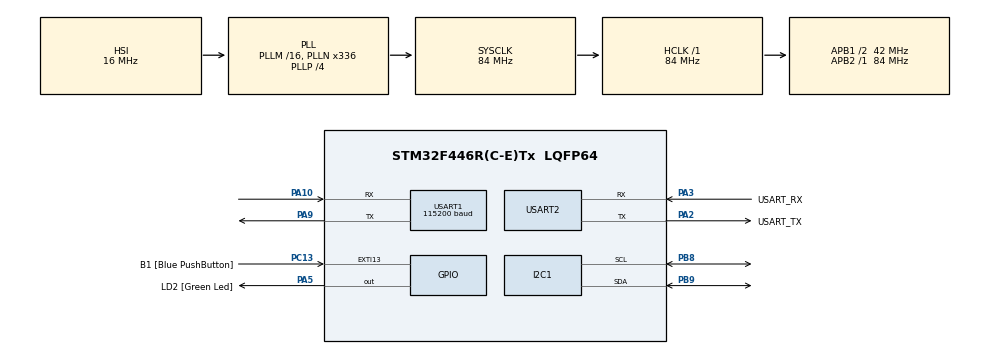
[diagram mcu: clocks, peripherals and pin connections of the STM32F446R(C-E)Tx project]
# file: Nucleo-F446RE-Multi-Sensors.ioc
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Dma.Request0=USART1_RX
Dma.Request1=USART2_RX
Dma.USART1_RX.0.Direction=DMA_PERIPH_TO_MEMORY
Dma.USART1_RX.0.FIFOMode=DMA_FIFOMODE_DISABLE
Dma.USART1_RX.0.Instance=DMA2_Stream2
Dma.USART1_RX.0.MemDataAlignment=DMA_MDATAALIGN_BYTE
Dma.USART1_RX.0.MemInc=DMA_MINC_ENABLE
Dma.USART1_RX.0.Mode=DMA_NORMAL
Dma.USART1_RX.0.PeriphDataAlignment=DMA_PDATAALIGN_BYTE
Dma.USART1_RX.0.PeriphInc=DMA_PINC_DISABLE
Dma.USART1_RX.0.Priority=DMA_PRIORITY_LOW
Dma.USART2_RX.1.Direction=DMA_PERIPH_TO_MEMORY
Dma.USART2_RX.1.FIFOMode=DMA_FIFOMODE_DISABLE
Dma.USART2_RX.1.Instance=DMA1_Stream5
Dma.USART2_RX.1.MemDataAlignment=DMA_MDATAALIGN_BYTE
Dma.USART2_RX.1.MemInc=DMA_MINC_ENABLE
Dma.USART2_RX.1.Mode=DMA_NORMAL
Dma.USART2_RX.1.PeriphDataAlignment=DMA_PDATAALIGN_BYTE
Dma.USART2_RX.1.PeriphInc=DMA_PINC_DISABLE
Dma.USART2_RX.1.Priority=DMA_PRIORITY_LOW
Mcu.Family=STM32F4
Mcu.Name=STM32F446R(C-E)Tx
Mcu.Package=LQFP64
NVIC.DMA1_Stream5_IRQn=true\:0\:0\:false\:false\:true\:false\:true\:true
NVIC.DMA2_Stream2_IRQn=true\:0\:0\:false\:false\:true\:false\:true\:true
NVIC.PriorityGroup=NVIC_PRIORITYGROUP_0
NVIC.USART1_IRQn=true\:0\:0\:false\:false\:true\:true\:true\:true
NVIC.USART2_IRQn=true\:0\:0\:false\:false\:true\:true\:true\:true
PA10.GPIO_PuPd=GPIO_PULLUP
PA10.Mode=Asynchronous
PA10.Signal=USART1_RX
PA13.GPIO_Label=TMS
PA13.Mode=Serial_Wire
PA13.Signal=SYS_JTMS-SWDIO
PA14.GPIO_Label=TCK
PA14.Mode=Serial_Wire
PA14.Signal=SYS_JTCK-SWCLK
PA2.GPIO_Label=USART_TX
PA2.GPIO_PuPd=GPIO_PULLUP
PA2.Mode=Asynchronous
PA2.Signal=USART2_TX
PA3.GPIO_Label=USART_RX
PA3.GPIO_PuPd=GPIO_PULLUP
PA3.Mode=Asynchronous
PA3.Signal=USART2_RX
PA5.GPIO_Label=LD2 [Green Led]
PA5.Signal=GPIO_Output
PA9.GPIO_PuPd=GPIO_PULLUP
PA9.Mode=Asynchronous
PA9.Signal=USART1_TX
PB3.GPIO_Label=SWO
PB3.Signal=SYS_JTDO-SWO
PB8.Mode=I2C
PB8.Signal=I2C1_SCL
PB9.Mode=I2C
PB9.Signal=I2C1_SDA
PC13.GPIO_Label=B1 [Blue PushButton]
PC13.GPIO_ModeDefaultEXTI=GPIO_MODE_IT_FALLING
PC13.Signal=GPXTI13
PC14-OSC32_IN.Signal=RCC_OSC32_IN
PC15-OSC32_OUT.Signal=RCC_OSC32_OUT
PH0-OSC_IN.Signal=RCC_OSC_IN
PH1-OSC_OUT.Signal=RCC_OSC_OUT
ProjectManager.HeapSize=0x200
ProjectManager.StackSize=0x400
ProjectManager.TargetToolchain=STM32CubeIDE
RCC.48MHZClocksFreq_Value=84000000
RCC.AHBFreq_Value=84000000
RCC.APB1CLKDivider=RCC_HCLK_DIV2
RCC.APB1Freq_Value=42000000
RCC.APB1TimFreq_Value=84000000
RCC.APB2Freq_Value=84000000
RCC.APB2TimFreq_Value=84000000
RCC.CortexFreq_Value=84000000
RCC.FLatency-AdvancedSettings=FLASH_LATENCY_2
RCC.HCLKFreq_Value=84000000
RCC.HSE_VALUE=8000000
RCC.HSI_VALUE=16000000
RCC.PLLN=336
RCC.PLLP=RCC_PLLP_DIV4
RCC.SYSCLKFreq_VALUE=84000000
RCC.SYSCLKSource=RCC_SYSCLKSOURCE_PLLCLK
RCC.USBFreq_Value=168000000
RCC.VCOOutputFreq_Value=336000000
USART1.BaudRate=115200
USART1.VirtualMode=VM_ASYNC
USART2.VirtualMode=VM_ASYNC
board=NUCLEO-F446RE

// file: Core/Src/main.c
/* USER CODE BEGIN Header */
/**
  ******************************************************************************
  * @file           : main.c
  * @brief          : Main program body
  ******************************************************************************
  * @attention
  *
  * Copyright (c) 2025 STMicroelectronics.
  * All rights reserved.
  *
  * This software is licensed under terms that can be found in the LICENSE file
  * in the root directory of this software component.
  * If no LICENSE file comes with this software, it is provided AS-IS.
  *
  *
  *
  * Comparing 3 CO2 Sensors interfacing to I2C
  * Sesirion 	@ 0x62
  * CCS811 		@ 0x5A
  * ENS160		@ 0x52
  * AHT21		@ 0x38
  *
  *
  *
  *
  *
  ******************************************************************************
  */
/* USER CODE END Header */
#include "main.h"
#include "dma.h"
#include "i2c.h"
#include "usart.h"
#include "gpio.h"

/* USER CODE BEGIN Includes */
#include "noRTOS.h"
#include "platformGlue.h"

/* USER CODE END Includes */

/* USER CODE BEGIN PV */
#define ENS160_I2C_ADDRESS	0x52
#define ENS160_OPMODE 		0x10	// Operating mode:0x00: DEEP SLEEP mode (low power standby); 0x01: IDLE mode (low-power); 0x02: STANDARD Gas Sensing Modes

#define ENS160_TEMP_IN 		0x13	// 2 Bytes Length
#define ENS160_RH_IN 		0x15	// 2 Bytes Length
#define ENS160_DATA_STATUS	0x20
#define ENS160_DATA_ECO2	0x24 	// 2 Bytes Length
#define ENS160_DATA_T 		0x30	// 2 Bytes Length
#define ENS160_DATA_RH 		0x32	// 2 Bytes Length

void ens160_i2c_read_register(uint8_t register_address, uint8_t* data, uint16_t length){
	HAL_I2C_Mem_Read(&I2C_HANDLER, ENS160_I2C_ADDRESS<<1, register_address, 1, data, length, 0xFFFF);
}

void ens160_i2c_write_register(uint8_t register_address, uint8_t* data, uint16_t length){
	HAL_I2C_Mem_Write(&I2C_HANDLER, ENS160_I2C_ADDRESS<<1, register_address, 1, data, length, 0xFFFF);
}

void ens160_translate_status_byte(uint8_t status_byte){

	uint8_t NEWGPR;
	uint8_t NEWDAT;
	uint8_t VALIDITY_FLAG;
	uint8_t STATER;
	uint8_t STATAS;
	NEWGPR 			= (status_byte & 0x01);		 // High indicates that a new data is available in the GPR_READx registers. Cleared automatically at first GPR_READx read.
	NEWDAT 			= (status_byte & 0x02) >> 1; // High indicates that a new data is available in the DATA_x registers. Cleared automatically at first DATA_x read.
	VALIDITY_FLAG 	= (status_byte & 0x0C) >> 2; // 0: Normal operation; 1: Warm-Up phase; 2: Initial Start-Up phase; 3: Invalid output
	STATER 			= (status_byte & 0x40) >> 6; // High indicates that an error is detected. E.g. Invali Operating Mode has been selected.
	STATAS 			= (status_byte & 0x80) >> 7; // High indicates that an OPMODE is running
	printf("ENS160 Status: ");
	if(NEWGPR) printf("GPR data available, ");
	if(NEWDAT) printf("Sensor data available, ");
	if(VALIDITY_FLAG) printf("Operation: %d, ", VALIDITY_FLAG);
	if(STATER) printf("Error is present, ");
	if(STATAS) printf("OPMODE is running");
	printf("\n");
}

/* USER CODE END PV */

void SystemClock_Config(void);

/* USER CODE BEGIN 0 */

void blinky(void){
	NUCLEO_LED_toggle();
}

void sample_ens160(void){
	uint16_t eCO2 = 0;
	uint16_t temperature = 0;
	uint16_t rleative_humidity = 0;
	uint8_t status = 0;
	ens160_i2c_read_register(ENS160_DATA_STATUS, &status, 1);
	ens160_i2c_read_register(ENS160_DATA_ECO2, (uint8_t*) &eCO2, 2);
	ens160_i2c_read_register(ENS160_DATA_T, (uint8_t*) &temperature, 2);
	ens160_i2c_read_register(ENS160_DATA_RH, (uint8_t*) &rleative_humidity, 2);

	ens160_translate_status_byte(status);
	printf("ENS160 CO2: %d\n", eCO2);
	printf("ENS160 Temperature: %d\n", temperature);
	printf("ENS160 Humidity: %d\n", rleative_humidity);
}

void noRTOS_setup(void) {
	NUCLEO_LED_turn_on();
	scan_i2c_sensors();

	// set ENS160 to OPERATIONAL MODE 0x01
	uint8_t mode = 0x01;
	ens160_i2c_write_register(ENS160_OPMODE, &mode, 1);

	uint16_t temp_in = 0x488A; // (17+273.15)*64 = 18569.6 = 0x488A; For 25°C the input value is calculated as follows: (25 + 273.15) * 64 = 0x4A8A.
	uint8_t temp_in_lsb = 0x8A;
	uint8_t temp_in_msb = 0x48;
	ens160_i2c_write_register(ENS160_TEMP_IN, &temp_in_lsb, 1);
	ens160_i2c_write_register(ENS160_TEMP_IN, &temp_in_msb, 1);

	// set ENS160 to OPERATIONAL MODE 0x02
	mode = 0x02;
	ens160_i2c_write_register(ENS160_OPMODE, &mode, 1);
	NUCLEO_LED_turn_off();
}

/* USER CODE END 0 */

int main(void)
{

  /* MCU Configuration--------------------------------------------------------*/

  /* Reset of all peripherals, Initializes the Flash interface and the Systick. */
  HAL_Init();

  /* Configure the system clock */
  SystemClock_Config();

  /* Initialize all configured peripherals */
  MX_GPIO_Init();
  MX_DMA_Init();
  MX_USART2_UART_Init();
  MX_USART1_UART_Init();
  MX_I2C1_Init();

  /* USER CODE BEGIN 2 */
  noRTOS_task_t blinky_t = {.delay = eNORTOS_PERIODE_1s, .task_callback = blinky};
  noRTOS_add_task_to_scheduler(&blinky_t);

  noRTOS_task_t ens160_t = {.delay = eNORTOS_PERIODE_1s, .task_callback = sample_ens160};
  noRTOS_add_task_to_scheduler(&ens160_t);

  noRTOS_run_scheduler();
  /* USER CODE END 2 */

  /* Infinite loop */
  while (1)
  {

  }
}

void SystemClock_Config(void)
{
  RCC_OscInitTypeDef RCC_OscInitStruct = {0};
  RCC_ClkInitTypeDef RCC_ClkInitStruct = {0};

  /** Configure the main internal regulator output voltage
  */
  __HAL_RCC_PWR_CLK_ENABLE();
  __HAL_PWR_VOLTAGESCALING_CONFIG(PWR_REGULATOR_VOLTAGE_SCALE3);

  /** Initializes the RCC Oscillators according to the specified parameters
  * in the RCC_OscInitTypeDef structure.
  */
  RCC_OscInitStruct.OscillatorType = RCC_OSCILLATORTYPE_HSI;
  RCC_OscInitStruct.HSIState = RCC_HSI_ON;
  RCC_OscInitStruct.HSICalibrationValue = RCC_HSICALIBRATION_DEFAULT;
  RCC_OscInitStruct.PLL.PLLState = RCC_PLL_ON;
  RCC_OscInitStruct.PLL.PLLSource = RCC_PLLSOURCE_HSI;
  RCC_OscInitStruct.PLL.PLLM = 16;
  RCC_OscInitStruct.PLL.PLLN = 336;
  RCC_OscInitStruct.PLL.PLLP = RCC_PLLP_DIV4;
  RCC_OscInitStruct.PLL.PLLQ = 2;
  RCC_OscInitStruct.PLL.PLLR = 2;
  if (HAL_RCC_OscConfig(&RCC_OscInitStruct) != HAL_OK)
  {
    Error_Handler();
  }

  /** Initializes the CPU, AHB and APB buses clocks
  */
  RCC_ClkInitStruct.ClockType = RCC_CLOCKTYPE_HCLK|RCC_CLOCKTYPE_SYSCLK
                              |RCC_CLOCKTYPE_PCLK1|RCC_CLOCKTYPE_PCLK2;
  RCC_ClkInitStruct.SYSCLKSource = RCC_SYSCLKSOURCE_PLLCLK;
  RCC_ClkInitStruct.AHBCLKDivider = RCC_SYSCLK_DIV1;
  RCC_ClkInitStruct.APB1CLKDivider = RCC_HCLK_DIV2;
  RCC_ClkInitStruct.APB2CLKDivider = RCC_HCLK_DIV1;

  if (HAL_RCC_ClockConfig(&RCC_ClkInitStruct, FLASH_LATENCY_2) != HAL_OK)
  {
    Error_Handler();
  }
}

void Error_Handler(void)
{
  __disable_irq();
  while (1)
  {
  }
}
